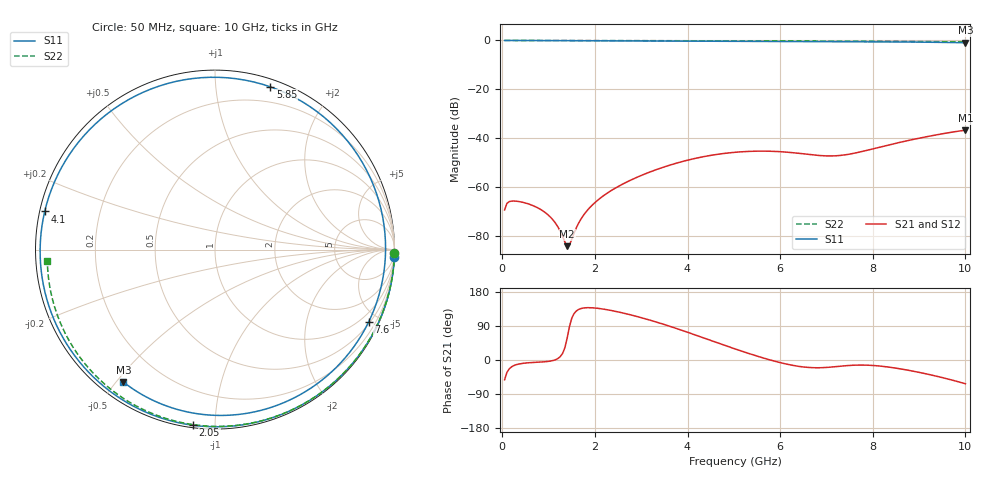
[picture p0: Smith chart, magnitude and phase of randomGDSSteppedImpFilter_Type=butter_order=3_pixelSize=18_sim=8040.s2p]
! freq	dB(S11)	phase(S11)	dB(S12)	phase(S12)
!  dB(S21)	phase(S21)	dB(S22)	phase(S22)
!S-par simulation data
#  GHz  S  DB  R 50
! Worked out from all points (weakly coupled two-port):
!   200 points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, 50 MHz to 10 GHz, reference 50 ohm
!   highest |S21| = -36.72 dB at 10 GHz (marker M1); lowest = -84.2 dB at 1.4 GHz (marker M2)
!   lowest |S11| = -0.9 dB at 10 GHz (marker M3), VSWR 18.44, Z = 3.46 - j26.1 ohm
!   |S11| at or under -10 dB: nowhere
!   |S22| runs from -0.6 to 0.0 dB; largest |S21 - S12| = 0
!   S11 on the Smith chart (normalised r, x): 50 MHz: 0, -47; 2.05 GHz: 0.01, -0.88; 4.1 GHz: 0.01, +0.11; 5.85 GHz: 0.06, +1.39; 7.6 GHz: 0.57, -4.38; 10 GHz: 0.07, -0.52
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0.05  -0.00 -2.5  -69.38 -52.1  -69.38 -52.1  -0.00 -1.0
0.2  -0.00 -9.8  -65.78 -18.0  -65.78 -18.0  -0.00 -4.1
0.65  -0.03 -31.6  -67.52 -6.6  -67.52 -6.6  -0.01 -13.3
1  -0.06 -48.4  -71.62 -3.6  -71.62 -3.6  -0.02 -20.3
1.3  -0.08 -62.5  -80.14 16.9  -80.14 16.9  -0.03 -26.3
1.4  -0.08 -67.2  -84.23 57.3  -84.23 57.3  -0.04 -28.3
1.55  -0.09 -74.1  -78.88 122.6  -78.88 122.6  -0.04 -31.2
1.75  -0.10 -83.4  -71.67 137.1  -71.67 137.1  -0.04 -35.2
2.05  -0.12 -97.1  -65.55 136.6  -65.55 136.6  -0.05 -41.0
2.7  -0.15 -126.7  -57.85 121.3  -57.85 121.3  -0.07 -53.5
3.4  -0.20 -158.9  -52.40 97.4  -52.40 97.4  -0.09 -66.5
4.1  -0.24 167.4  -48.57 69.0  -48.57 69.0  -0.11 -79.1
4.55  -0.28 144.3  -46.90 49.5  -46.90 49.5  -0.13 -86.9
5.05  -0.32 117.2  -45.75 28.3  -45.75 28.3  -0.15 -95.5
5.45  -0.35 94.5  -45.34 12.2  -45.34 12.2  -0.17 -102.2
5.85  -0.37 71.2  -45.40 -2.1  -45.40 -2.1  -0.19 -108.8
6.7  -0.42 22.0  -46.84 -20.3  -46.84 -20.3  -0.24 -122.6
7.15  -0.45 -2.5  -47.27 -18.2  -47.27 -18.2  -0.27 -129.9
7.6  -0.48 -25.3  -46.18 -13.7  -46.18 -13.7  -0.31 -137.0
8.35  -0.56 -59.5  -42.76 -18.8  -42.76 -18.8  -0.38 -149.0
9.15  -0.70 -91.8  -39.46 -36.5  -39.46 -36.5  -0.47 -162.0
10  -0.94 -124.7  -36.72 -62.6  -36.72 -62.6  -0.57 -176.3
